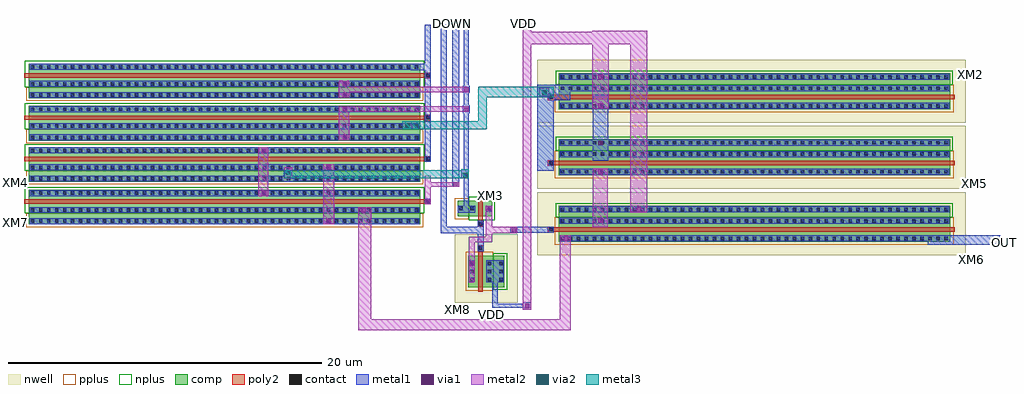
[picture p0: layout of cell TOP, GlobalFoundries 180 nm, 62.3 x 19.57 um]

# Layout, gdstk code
from math import pi, radians
import gdstk
lib = gdstk.Library(unit=1e-6, precision=5e-09)
def R(c, l, rs):  # rectangles x0, y0, x1, y1
    for r in rs: c.add(gdstk.rectangle(r[:2], r[2:], *l))
def A(c, l, x, y, w, h, nx, ny, dx, dy):  # array of equal rectangles
    R(c, l, [(x+i*dx, y+j*dy, x+i*dx+w, y+j*dy+h) for i in range(nx) for j in range(ny)])
def P(c, l, *ps):  # polygons
    for p in ps: c.add(gdstk.Polygon(p, *l))
nwell = (21, 0)
comp = (22, 0)
poly2 = (30, 0)
pplus = (31, 0)
nplus = (32, 0)
contact = (33, 0)
metal1 = (34, 0)
via1 = (35, 0)
metal2 = (36, 0)
via2 = (38, 0)
metal3 = (42, 0)

nfet = lib.new_cell('nfet')
R(nfet, comp, [(-0.42,0,1.79,25)])
P(nfet, poly2, [(0.19,-0.3),(0.19,25.3),(0.15,25.3),(0.15,25.66),(0.51,25.66),(0.51,25.3),(0.47,25.3),(0.47,-0.3)])
R(nfet, pplus, [(1.08,-0.17,1.96,25.17)])
R(nfet, nplus, [(-0.59,-0.24,1.08,25.24)])
A(nfet, contact, -0.32, 0.15, 0.22, 0.22, 1, 49, 0, 0.51)
A(nfet, contact, 0.76, 0.15, 0.22, 0.22, 1, 49, 0, 0.51)
A(nfet, contact, 1.47, 0.15, 0.22, 0.22, 1, 49, 0, 0.51)
R(nfet, contact, [(0.22,25.37,0.44,25.59)])
R(nfet, metal1, [(-0.4,0.07,-0.02,24.93), (0.68,0.07,1.06,24.93), (1.39,0.07,1.77,24.93), (0.14,25.29,0.52,25.67)])

pfet = lib.new_cell('pfet')
R(pfet, nwell, [(-1.32,-0.99,2.71,26.37)])
R(pfet, comp, [(-0.46,0,1.85,25)])
P(pfet, poly2, [(0.19,-0.3),(0.19,25.3),(0.14,25.3),(0.14,25.68),(0.52,25.68),(0.52,25.3),(0.47,25.3),(0.47,-0.3)])
R(pfet, pplus, [(-0.63,-0.24,1.12,25.24)])
R(pfet, nplus, [(1.12,-0.17,2.02,25.17)])
A(pfet, contact, -0.34, 0.15, 0.22, 0.22, 1, 49, 0, 0.51)
A(pfet, contact, 0.78, 0.15, 0.22, 0.22, 1, 49, 0, 0.51)
A(pfet, contact, 1.51, 0.15, 0.22, 0.22, 1, 49, 0, 0.51)
R(pfet, contact, [(0.22,25.38,0.44,25.6)])
R(pfet, metal1, [(-0.42,0.07,-0.04,24.93), (0.7,0.07,1.08,24.93), (1.43,0.07,1.81,24.93), (0.14,25.3,0.52,25.68)])

pfet_2 = lib.new_cell('pfet$2')
R(pfet_2, nwell, [(-1.32,-0.99,2.71,3.37)])
R(pfet_2, comp, [(-0.46,0,1.85,2)])
P(pfet_2, poly2, [(0.19,-0.3),(0.19,2.3),(0.14,2.3),(0.14,2.68),(0.52,2.68),(0.52,2.3),(0.47,2.3),(0.47,-0.3)])
R(pfet_2, pplus, [(-0.63,-0.24,1.12,2.24)])
R(pfet_2, nplus, [(1.12,-0.17,2.02,2.17)])
A(pfet_2, contact, -0.34, 0.38, 0.22, 0.22, 1, 3, 0, 0.51)
A(pfet_2, contact, 0.78, 0.38, 0.22, 0.22, 1, 3, 0, 0.51)
A(pfet_2, contact, 1.51, 0.38, 0.22, 0.22, 1, 3, 0, 0.51)
R(pfet_2, contact, [(0.22,2.38,0.44,2.6)])
R(pfet_2, metal1, [(-0.42,0.3,-0.04,1.7), (0.7,0.3,1.08,1.7), (1.43,0.3,1.81,1.7), (0.14,2.3,0.52,2.68)])

nfet_2 = lib.new_cell('nfet$2')
R(nfet_2, comp, [(-0.42,0,1.79,1)])
P(nfet_2, poly2, [(0.19,-0.3),(0.19,1.3),(0.15,1.3),(0.15,1.66),(0.51,1.66),(0.51,1.3),(0.47,1.3),(0.47,-0.3)])
R(nfet_2, pplus, [(1.08,-0.17,1.96,1.17)])
R(nfet_2, nplus, [(-0.59,-0.24,1.08,1.24)])
R(nfet_2, contact, [(-0.32,0.39,-0.1,0.61), (0.76,0.39,0.98,0.61), (1.47,0.39,1.69,0.61), (0.22,1.37,0.44,1.59)])
R(nfet_2, metal1, [(-0.4,0.31,-0.02,0.69), (0.68,0.31,1.06,0.69), (1.39,0.31,1.77,0.69), (0.14,1.29,0.52,1.67)])

top = lib.new_cell('TOP')
R(top, metal1, [(-69.28,19.42,-68.74,19.89), (-71.23,19.55,-70.88,21.62), (-71.23,19.55,-68.8,19.79), (-71.61,21.17,-70.5,22.57), (-72.18,23.17,-71.79,25.09), (-43.44,23.58,-38.83,24.17), (-74.54,24.32,-71.79,24.71), (-74.54,24.32,-73.74,24.71), (-74.54,24.32,-74.14,37.62), (-70.1,24.35,-67.31,24.73), (-73.43,25.62,-72.34,26.07), (-73.05,25.62,-72.74,26.91), (-73.05,26.91,-72.74,37.67), (-73.78,27.27,-73.34,29.2), (-84.53,27.59,-84,28.7), (-73.21,27.83,-72.74,28.4), (-68.38,28.3,-67.32,33.79), (-73.78,28.82,-73.34,37.65), (-75.54,28.86,-75.16,37.62), (-64.82,28.93,-63.84,33.14), (-73.12,31.96,-72.67,32.47), (-68.38,32.8,-66.26,33.79), (-73.12,33.26,-72.69,33.72), (-76.44,34.71,-75.16,35.11)])
R(top, via1, [(-69.145,19.52,-68.865,19.8), (-72.68,22.24,-72.4,22.52), (-66.66,23.82,-66.38,24.1), (-69.99,24.4,-69.71,24.68), (-81.83,24.94,-81.55,25.22), (-64.48,24.97,-64.2,25.25), (-79.6,25.63,-79.32,25.91), (-62.03,25.69,-61.75,25.97), (-71.56,25.73,-71.28,26.01), (-75.47,26.19,-75.19,26.47), (-85.94,26.74,-85.66,27.02), (-73.715,27.28,-73.435,27.56), (-73.09,27.895,-72.81,28.175), (-84.415,28.03,-84.135,28.31), (-64.48,28.1,-64.2,28.38), (-81.83,28.38,-81.55,28.66), (-85.94,29.43,-85.66,29.71), (-64.48,29.93,-64.2,30.21), (-80.79,30.31,-80.51,30.59), (-76.79,31.04,-76.51,31.32), (-73.04,32.05,-72.76,32.33), (-80.79,32.07,-80.51,32.35), (-64.48,32.31,-64.2,32.59), (-80.79,32.98,-80.51,33.26), (-68.05,33.16,-67.77,33.44), (-73.04,33.35,-72.76,33.63), (-80.79,33.69,-80.51,33.97), (-64.48,34.15,-64.2,34.43)])
R(top, metal2, [(-79.81,18.11,-66.24,18.8), (-79.81,18.11,-78.96,25.98), (-66.94,18.11,-66.24,24.17), (-69.28,19.42,-68.74,19.89), (-69.28,19.42,-68.74,20.87), (-69.28,20.56,-68.74,26.93), (-72.73,21.17,-72.35,24.07), (-72.73,23.72,-71.23,24.07), (-71.64,23.72,-71.23,26.07), (-71.64,24.32,-69.63,24.73), (-64.84,24.68,-63.86,28.42), (-82.03,24.89,-81.33,28.7), (-62.42,25.64,-61.35,37.22), (-75.54,26.14,-75.16,27.98), (-69.28,26.24,-68.74,37.68), (-86.17,26.68,-85.53,29.78), (-75.54,27.27,-73.34,27.57), (-84.53,27.77,-84,28.51), (-73.23,27.83,-72.74,28.4), (-73.21,27.83,-72.76,28.32), (-81.04,30.24,-80.37,32.41), (-76.98,30.93,-76.36,31.45), (-81.04,32.05,-72.74,32.41), (-64.85,32.25,-63.82,37.23), (-81.04,32.94,-80.38,34.03), (-68.25,33.05,-67.61,33.58), (-81.04,33.31,-72.74,33.67), (-69.28,36.36,-64.16,37.17), (-64.85,36.36,-61.35,37.22)])
R(top, via2, [(-73.09,27.895,-72.81,28.175), (-84.415,28.03,-84.135,28.31), (-76.79,31.04,-76.51,31.32), (-68.05,33.16,-67.77,33.44)])
R(top, metal3, [(-84.55,27.83,-73.34,28.32), (-73.94,27.83,-72.76,28.32), (-73.21,27.83,-72.74,28.4), (-76.98,30.93,-71.59,31.45), (-72.12,30.93,-71.59,33.65), (-72.12,33,-67.31,33.65)])
top.add(gdstk.Reference(nfet, (-100.83,34.71), rotation=3*pi/2))
top.add(gdstk.Reference(nfet, (-100.83,32.01), rotation=3*pi/2))
top.add(gdstk.Reference(nfet, (-100.83,29.38), rotation=3*pi/2))
top.add(gdstk.Reference(nfet, (-100.83,26.66), rotation=3*pi/2))
top.add(gdstk.Reference(pfet, (-42.01,24.21), rotation=pi/2))
top.add(gdstk.Reference(pfet_2, (-72.31,20.87)))
top.add(gdstk.Reference(nfet_2, (-71.66,26.38), rotation=pi))
top.add(gdstk.Reference(pfet, (-42.01,28.46), rotation=pi/2))
top.add(gdstk.Reference(pfet, (-42.01,32.67), rotation=pi/2))
top.add(gdstk.Label('XM7', (-102.58,25.01), layer=34, texttype=0))
top.add(gdstk.Label('XM4', (-102.61,27.55), layer=34, texttype=0))
top.add(gdstk.Label('XM9', (-102.88,30.83), layer=34, texttype=0))
top.add(gdstk.Label('XM1', (-102.95,33.61), layer=34, texttype=0))
top.add(gdstk.Label('DOWN', (-73.76,37.69), layer=34, texttype=0))
top.add(gdstk.Label('GND', (-73.05,37.72), layer=34, texttype=0))
top.add(gdstk.Label('Ibias', (-75.51,37.69), layer=34, texttype=0))
top.add(gdstk.Label('UP', (-74.43,37.7), layer=34, texttype=0))
top.add(gdstk.Label('XM6', (-40.63,22.61), layer=34, texttype=0))
top.add(gdstk.Label('XM5', (-40.47,27.49), layer=34, texttype=0))
top.add(gdstk.Label('XM2', (-40.74,34.43), layer=34, texttype=0))
top.add(gdstk.Label('XM3', (-71.35,26.73), layer=34, texttype=0))
top.add(gdstk.Label('XM8', (-73.49,19.46), layer=34, texttype=0))
top.add(gdstk.Label('VDD', (-71.28,19.13), layer=34, texttype=0))
top.add(gdstk.Label('OUT', (-38.57,23.71), layer=34, texttype=0))
top.add(gdstk.Label('VDD', (-69.26,37.67), layer=32, texttype=0))

lib.write_gds('TOP.gds')
